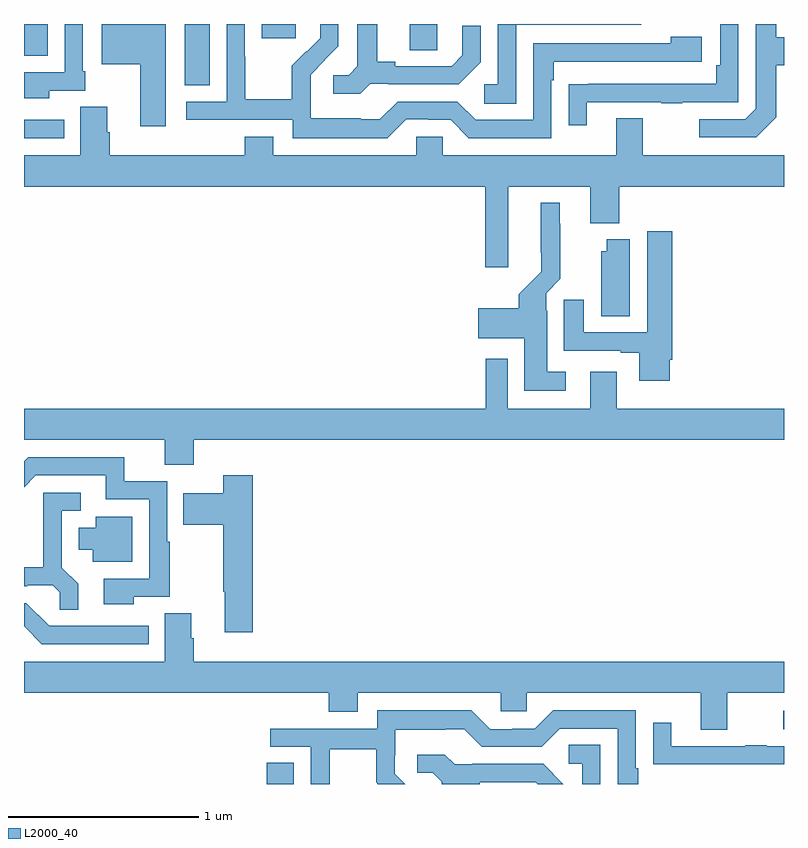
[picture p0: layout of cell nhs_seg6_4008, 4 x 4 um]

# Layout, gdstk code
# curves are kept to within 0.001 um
import gdstk
lib = gdstk.Library(unit=1e-6, precision=1e-09)
def R(c, l, rs):  # rectangles x0, y0, x1, y1
    for r in rs: c.add(gdstk.rectangle(r[:2], r[2:], *l))
def P(c, l, *ps):  # polygons
    for p in ps: c.add(gdstk.Polygon(p, *l))
L2000_40 = (2000, 40)

nhs_seg6_4008 = lib.new_cell('nhs_seg6_4008')
R(nhs_seg6_4008, L2000_40, [(348.278,969.5,348.421,969.611), (350.997,969.789,351,969.885), (347,972.9,347.212,972.996), (347.846,973.177,347.977,973.5), (347,973.334,347.125,973.5), (349.031,973.363,349.176,973.5), (348.251,973.425,348.43,973.5)])
P(nhs_seg6_4008, L2000_40, [(350.959,973.009),(350.959,973.282),(351,973.282),(351,973.429),(350.959,973.429),(350.959,973.5),(350.85,973.5),(350.85,973.053),(350.796,972.999),(350.553,972.999),(350.553,972.903),(350.853,972.903)],
  [(349.59,973.497),(350.249,973.497),(350.249,973.5),(349.494,973.5),(349.494,973.182),(349.422,973.182),(349.422,973.081),(349.59,973.081)],
  [(349.963,973.089),(350.353,973.089),(350.353,973.084),(350.465,973.084),(350.465,973.089),(350.76,973.089),(350.76,973.5),(350.664,973.5),(350.664,973.282),(350.644,973.282),(350.644,973.185),(349.969,973.185),(349.969,973.184),(349.867,973.184),(349.867,972.966),(349.963,972.966)],
  [(347.746,973.5),(347.408,973.5),(347.408,973.289),(347.612,973.289),(347.612,972.963),(347.746,972.963)],
  [(348.822,973.185),(348.916,973.185),(348.916,973.182),(349.288,973.182),(349.404,973.298),(349.404,973.492),(349.307,973.492),(349.307,973.335),(349.25,973.278),(348.955,973.278),(348.955,973.301),(348.859,973.301),(348.859,973.5),(348.755,973.5),(348.755,973.277),(348.708,973.23),(348.627,973.23),(348.627,973.133),(348.77,973.133)],
  [(347.133,973.149),(347.323,973.149),(347.323,973.252),(347.31,973.252),(347.31,973.5),(347.214,973.5),(347.214,973.245),(347,973.245),(347,973.109),(347.133,973.109)],
  [(349.011,972.999),(349.127,972.999),(349.127,972.996),(349.245,972.996),(349.341,972.9),(349.776,972.9),(349.776,973.205),(349.789,973.205),(349.789,973.302),(350.566,973.302),(350.566,973.432),(350.405,973.432),(350.405,973.398),(349.68,973.398),(349.68,972.996),(349.377,972.996),(349.281,973.092),(348.966,973.092),(348.873,972.999),(348.773,972.999),(348.773,973.003),(348.51,973.003),(348.51,973.137),(348.508,973.137),(348.508,973.234),(348.654,973.382),(348.654,973.5),(348.56,973.5),(348.56,973.424),(348.489,973.353),(348.486,973.356),(348.409,973.279),(348.409,973.105),(348.165,973.105),(348.165,973.328),(348.162,973.328),(348.162,973.5),(348.066,973.5),(348.066,973.092),(347.853,973.092),(347.853,972.996),(348.414,972.996),(348.414,972.899),(348.911,972.899)],
  [(349.549,972.644),(349.979,972.644),(349.979,972.452),(350.132,972.452),(350.132,972.644),(351,972.644),(351,972.808),(350.257,972.808),(350.257,973.003),(350.117,973.003),(350.117,972.808),(349.203,972.808),(349.203,972.906),(349.065,972.906),(349.065,972.808),(348.313,972.808),(348.313,972.907),(348.161,972.907),(348.161,972.808),(347.45,972.808),(347.45,972.93),(347.437,972.93),(347.437,973.064),(347.297,973.064),(347.297,972.808),(347,972.808),(347,972.644),(349.427,972.644),(349.427,972.219),(349.549,972.219)],
  [(349.852,971.671),(349.753,971.671),(349.753,971.99),(349.749,971.99),(349.749,972.084),(349.823,972.158),(349.823,972.449),(349.819,972.449),(349.819,972.559),(349.721,972.559),(349.722,972.196),(349.604,972.078),(349.604,972.004),(349.392,972.004),(349.392,971.846),(349.634,971.846),(349.634,971.57),(349.852,971.57)],
  [(350.398,971.734),(350.411,971.734),(350.411,972.409),(350.279,972.409),(350.279,971.877),(349.945,971.877),(349.945,972.049),(349.841,972.049),(349.841,971.781),(350.141,971.781),(350.141,971.769),(350.237,971.769),(350.237,971.622),(350.398,971.622)],
  [(350.188,972.367),(350.066,972.367),(350.066,972.303),(350.039,972.303),(350.039,971.962),(350.188,971.962)],
  [(347,971.312),(347.741,971.312),(347.741,971.179),(347.894,971.179),(347.894,971.312),(351,971.312),(351,971.476),(350.119,971.476),(350.119,971.671),(349.979,971.671),(349.979,971.476),(349.545,971.476),(349.545,971.737),(349.429,971.737),(349.429,971.476),(347,971.476)],
  [(347.577,970.485),(347.767,970.485),(347.767,970.775),(347.754,970.775),(347.754,971.094),(347.528,971.094),(347.528,971.22),(347.022,971.22),(347,971.198),(347,971.063),(347.061,971.124),(347.429,971.124),(347.429,970.998),(347.658,970.998),(347.658,970.581),(347.421,970.581),(347.421,970.445),(347.577,970.445)],
  [(348.203,971.125),(348.049,971.125),(348.049,971.029),(347.839,971.029),(347.839,970.864),(348.049,970.864),(348.049,970.511),(348.056,970.511),(348.056,970.299),(348.203,970.299)],
  [(347.285,970.553),(347.199,970.639),(347.199,970.938),(347.299,970.938),(347.299,971.034),(347.102,971.034),(347.102,970.642),(347,970.642),(347,970.542),(347.016,970.542),(347.016,970.545),(347.15,970.545),(347.187,970.508),(347.187,970.417),(347.285,970.417)],
  [(347.569,970.906),(347.378,970.906),(347.378,970.849),(347.288,970.849),(347.288,970.733),(347.363,970.733),(347.363,970.67),(347.569,970.67)],
  [(347.656,970.332),(347.133,970.332),(347.013,970.452),(347,970.452),(347,970.33),(347.094,970.236),(347.656,970.236)],
  [(347.894,970.266),(347.881,970.266),(347.881,970.4),(347.741,970.4),(347.741,970.144),(347,970.144),(347,969.98),(348.605,969.98),(348.605,969.881),(348.757,969.881),(348.757,969.98),(349.509,969.98),(349.509,969.882),(349.647,969.882),(349.647,969.98),(350.561,969.98),(350.561,969.786),(350.701,969.786),(350.701,969.98),(351,969.98),(351,970.144),(347.894,970.144)],
  [(348.609,969.684),(348.853,969.684),(348.853,969.509),(348.862,969.5),(349.006,969.5),(348.952,969.554),(348.952,969.651),(348.954,969.651),(348.954,969.785),(349.217,969.785),(349.217,969.789),(349.317,969.789),(349.41,969.696),(349.725,969.696),(349.821,969.792),(350.124,969.792),(350.124,969.5),(350.233,969.5),(350.233,969.583),(350.22,969.583),(350.22,969.888),(349.785,969.888),(349.689,969.792),(349.571,969.792),(349.571,969.789),(349.455,969.789),(349.355,969.889),(348.858,969.889),(348.858,969.792),(348.297,969.792),(348.297,969.696),(348.51,969.696),(348.51,969.5),(348.609,969.5)],
  [(351,969.699),(350.909,969.699),(350.909,969.704),(350.797,969.704),(350.797,969.699),(350.407,969.699),(350.407,969.823),(350.311,969.823),(350.311,969.604),(350.413,969.604),(350.413,969.603),(351,969.603)],
  [(350.034,969.707),(349.866,969.707),(349.866,969.606),(349.938,969.606),(349.938,969.5),(350.034,969.5)],
  [(349.399,969.51),(349.694,969.51),(349.704,969.5),(349.838,969.5),(349.732,969.606),(349.36,969.606),(349.36,969.603),(349.266,969.603),(349.214,969.655),(349.071,969.655),(349.071,969.558),(349.152,969.558),(349.199,969.511),(349.199,969.5),(349.399,969.5)])

lib.write_gds('nhs_seg6_4008.gds')
